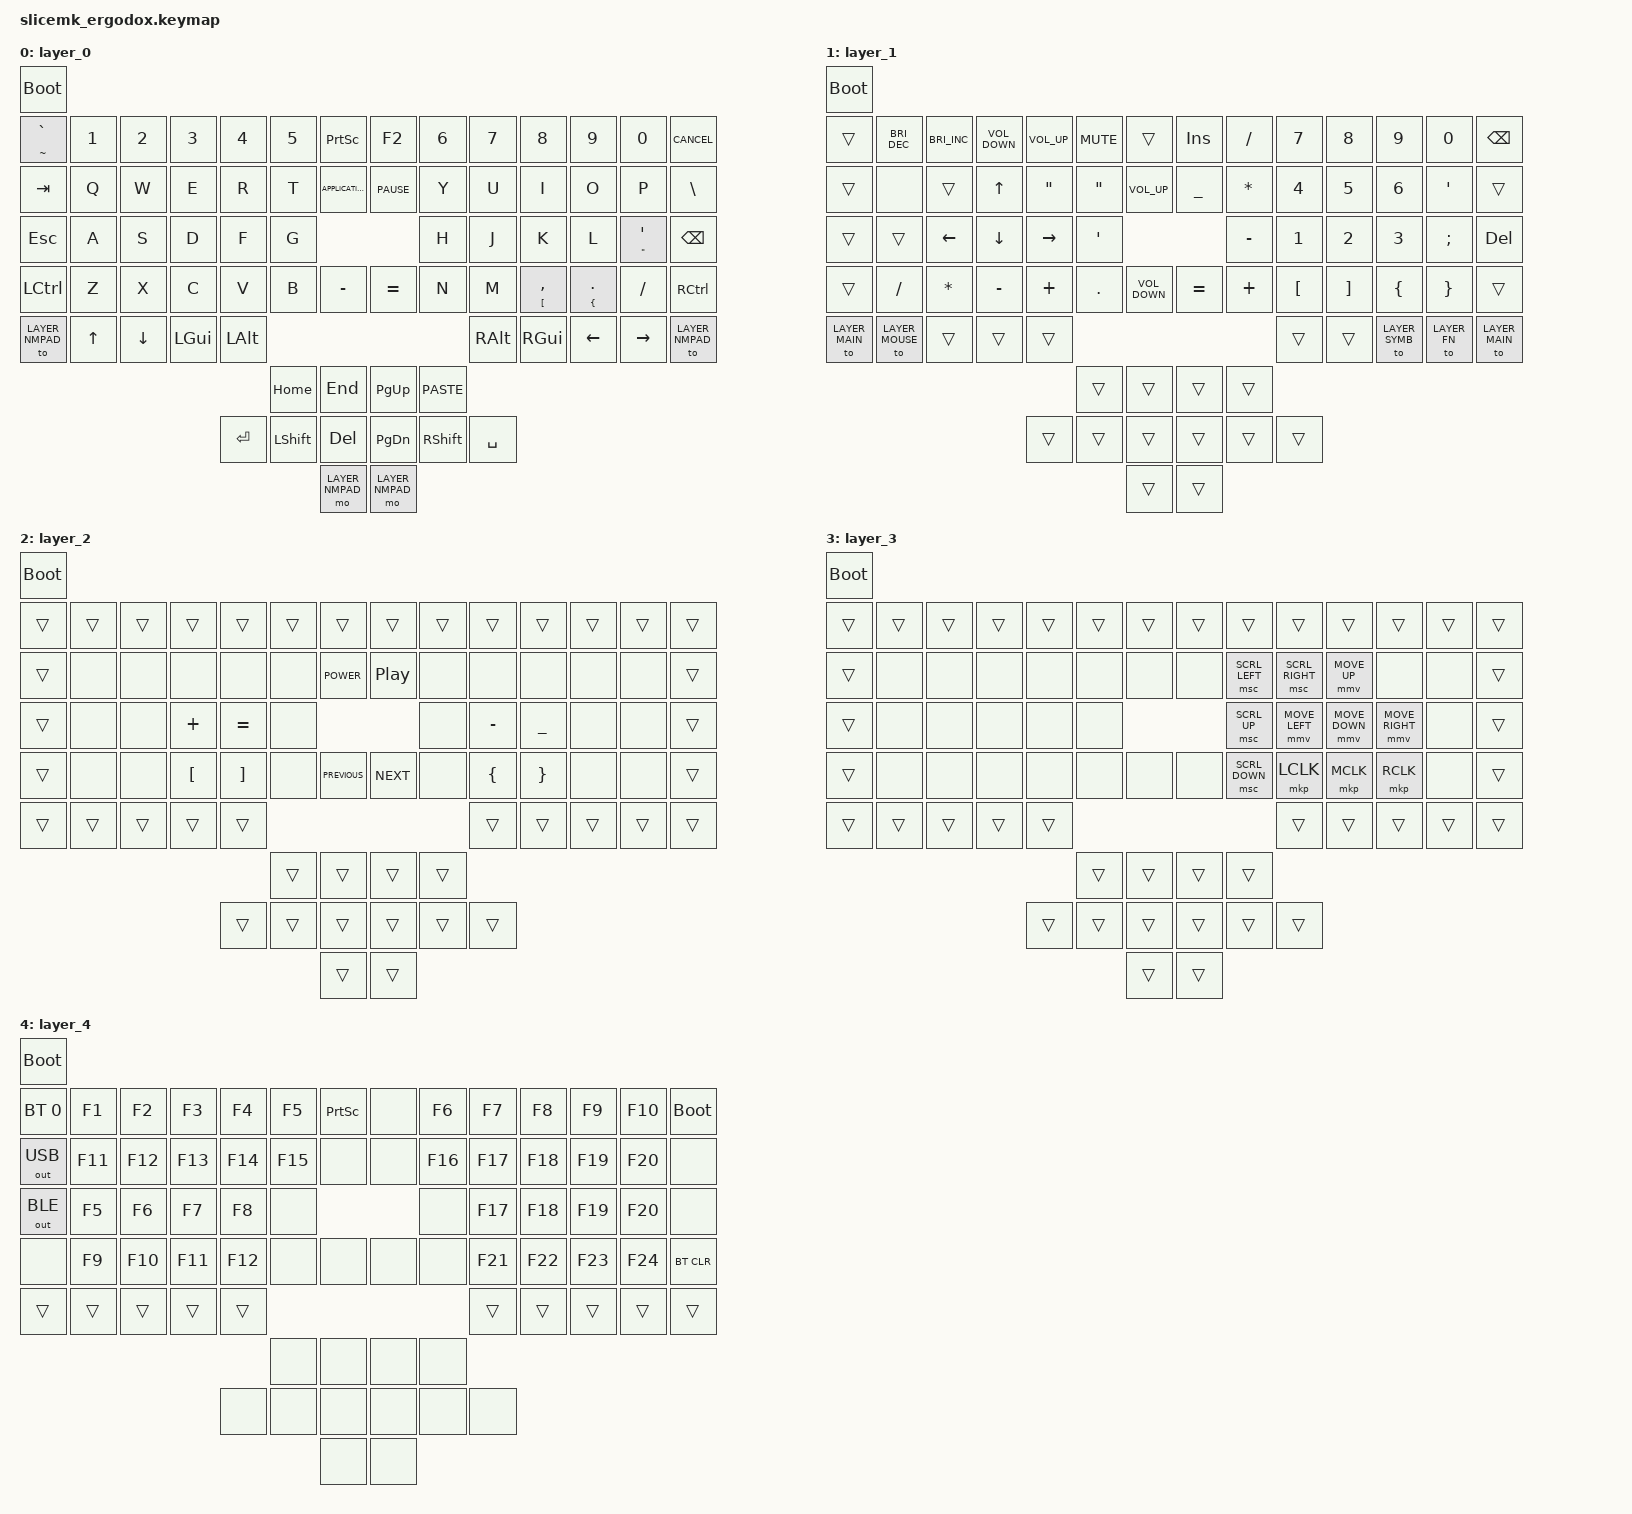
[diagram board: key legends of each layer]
#define LAYER_MAIN 0
#define LAYER_NMPAD 1
#define LAYER_SYMB 2
#define LAYER_MOUSE 3
#define LAYER_FN 4

#include <behaviors.dtsi>
#include <dt-bindings/zmk/bt.h>
#include <dt-bindings/zmk/keys.h>
#include <dt-bindings/zmk/mouse.h>
#include <dt-bindings/zmk/outputs.h>
#include <dt-bindings/zmk/rgb.h>

&mt {
    tapping-term-ms = <500>; // milliseconds
};

/ {
	keymap {
		compatible = "zmk,keymap";
		layer_0 {
			bindings = <
				&bootloader
				&mt TILDE GRAVE  &kp NUMBER_1 &kp NUMBER_2   &kp NUMBER_3 &kp NUMBER_4 &kp NUMBER_5   &kp PRINTSCREEN   &kp F2          &kp NUMBER_6    &kp NUMBER_7  &kp NUMBER_8           &kp NUMBER_9          &kp NUMBER_0                   &kp K_CANCEL
				&kp TAB          &kp Q        &kp W          &kp E        &kp R        &kp T          &kp K_APPLICATION &kp C_PAUSE     &kp Y           &kp U         &kp I                  &kp O                 &kp P                          &kp BACKSLASH
				&kp ESCAPE       &kp A        &kp S          &kp D        &kp F        &kp G                                            &kp H           &kp J         &kp K                  &kp L                 &mt DOUBLE_QUOTES SINGLE_QUOTE &kp BACKSPACE
				&kp LEFT_CONTROL &kp Z        &kp X          &kp C        &kp V        &kp B          &kp MINUS         &kp EQUAL       &kp N           &kp M         &mt LEFT_BRACKET COMMA &mt LEFT_BRACE PERIOD &kp SLASH                      &kp RIGHT_CONTROL
				&to LAYER_NMPAD  &kp UP_ARROW &kp DOWN_ARROW &kp LEFT_GUI &kp LEFT_ALT                                                                  &kp RIGHT_ALT &kp RIGHT_GUI          &kp LEFT_ARROW        &kp RIGHT_ARROW                &to LAYER_NMPAD
				                                                                       &kp HOME       &kp END           &kp PAGE_UP     &kp K_PASTE
				                                                          &kp RETURN   &kp LEFT_SHIFT &kp DELETE        &kp PAGE_DOWN   &kp RIGHT_SHIFT &kp SPACE
				                                                                                      &mo LAYER_NMPAD   &mo LAYER_NMPAD
			>;
		};
		layer_1 {
			bindings = <
				&bootloader
				&trans         &kp C_BRIGHTNESS_DEC &kp C_BRIGHTNESS_INC &kp C_VOLUME_DOWN &kp C_VOLUME_UP   &kp C_MUTE        &trans            &kp INSERT     &kp SLASH    &kp NUMBER_7     &kp NUMBER_8      &kp NUMBER_9   &kp NUMBER_0     &kp BACKSPACE
				&trans         &none                &trans               &kp UP_ARROW      &kp DOUBLE_QUOTES &kp DOUBLE_QUOTES &kp C_VOLUME_UP   &kp UNDERSCORE &kp ASTERISK &kp NUMBER_4     &kp NUMBER_5      &kp NUMBER_6   &kp SINGLE_QUOTE &trans
				&trans         &trans               &kp LEFT_ARROW       &kp DOWN_ARROW    &kp RIGHT_ARROW   &kp SINGLE_QUOTE                                   &kp MINUS    &kp NUMBER_1     &kp NUMBER_2      &kp NUMBER_3   &kp SEMICOLON    &kp DELETE
				&trans         &kp SLASH            &kp ASTERISK         &kp MINUS         &kp PLUS          &kp PERIOD        &kp C_VOLUME_DOWN &kp EQUAL      &kp PLUS     &kp LEFT_BRACKET &kp RIGHT_BRACKET &kp LEFT_BRACE &kp RIGHT_BRACE  &trans
				&to LAYER_MAIN &to LAYER_MOUSE      &trans               &trans            &trans                                                                            &trans           &trans            &to LAYER_SYMB &to LAYER_FN     &to LAYER_MAIN
				                                                                                             &trans            &trans            &trans         &trans
				                                                                           &trans            &trans            &trans            &trans         &trans       &trans
				                                                                                                               &trans            &trans
			>;
		};
		layer_2 {
			bindings = <
				&bootloader
				&trans &trans &trans &trans           &trans            &trans &trans         &trans           &trans &trans         &trans          &trans &trans &trans
				&trans &none  &none  &none            &none             &none  &kp C_POWER    &kp C_PLAY_PAUSE &none  &none          &none           &none  &none  &trans
				&trans &none  &none  &kp PLUS         &kp EQUAL         &none                                  &none  &kp MINUS      &kp UNDERSCORE  &none  &none  &trans
				&trans &none  &none  &kp LEFT_BRACKET &kp RIGHT_BRACKET &none  &kp C_PREVIOUS &kp C_NEXT       &none  &kp LEFT_BRACE &kp RIGHT_BRACE &none  &none  &trans
				&trans &trans &trans &trans           &trans                                                          &trans         &trans          &trans &trans &trans
				                                                        &trans &trans         &trans           &trans
				                                      &trans            &trans &trans         &trans           &trans &trans
				                                                               &trans         &trans
			>;
		};
		layer_3 {
			bindings = <
				&bootloader
				&trans &trans &trans &trans &trans &trans &trans &trans &trans         &trans          &trans         &trans          &trans &trans
				&trans &none  &none  &none  &none  &none  &none  &none  &msc SCRL_LEFT &msc SCRL_RIGHT &mmv MOVE_UP   &none           &none  &trans
				&trans &none  &none  &none  &none  &none                &msc SCRL_UP   &mmv MOVE_LEFT  &mmv MOVE_DOWN &mmv MOVE_RIGHT &none  &trans
				&trans &none  &none  &none  &none  &none  &none  &none  &msc SCRL_DOWN &mkp LCLK       &mkp MCLK      &mkp RCLK       &none  &trans
				&trans &trans &trans &trans &trans                                     &trans          &trans         &trans          &trans &trans
				                                   &trans &trans &trans &trans
				                            &trans &trans &trans &trans &trans         &trans
				                                          &trans &trans
			>;
		};
		layer_4 {
			bindings = <
				&bootloader
				&bt BT_SEL 0 &kp F1  &kp F2  &kp F3  &kp F4  &kp F5  &kp PRINTSCREEN &none &kp F6  &kp F7  &kp F8  &kp F9  &kp F10 &bootloader
				&out OUT_USB &kp F11 &kp F12 &kp F13 &kp F14 &kp F15 &none           &none &kp F16 &kp F17 &kp F18 &kp F19 &kp F20 &none
				&out OUT_BLE &kp F5  &kp F6  &kp F7  &kp F8  &none                         &none   &kp F17 &kp F18 &kp F19 &kp F20 &none
				&none        &kp F9  &kp F10 &kp F11 &kp F12 &none   &none           &none &none   &kp F21 &kp F22 &kp F23 &kp F24 &bt BT_CLR
				&trans       &trans  &trans  &trans  &trans                                        &trans  &trans  &trans  &trans  &trans
				                                             &none   &none           &none &none
				                                     &none   &none   &none           &none &none   &none
				                                                     &none           &none
			>;
		};
	};
};
